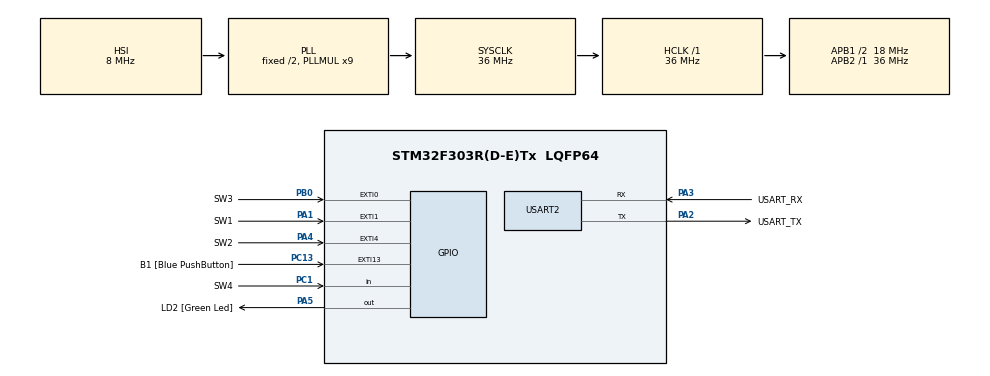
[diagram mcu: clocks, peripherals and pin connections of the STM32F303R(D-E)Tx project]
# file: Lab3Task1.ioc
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Mcu.Family=STM32F3
Mcu.Name=STM32F303R(D-E)Tx
Mcu.Package=LQFP64
NVIC.EXTI0_IRQn=true\:0\:0\:false\:false\:true\:true\:true\:true
NVIC.EXTI15_10_IRQn=true\:0\:0\:false\:false\:true\:true\:true\:true
NVIC.EXTI1_IRQn=true\:0\:0\:false\:false\:true\:true\:true\:true
NVIC.EXTI4_IRQn=true\:0\:0\:false\:false\:true\:true\:true\:true
NVIC.PriorityGroup=NVIC_PRIORITYGROUP_0
PA1.GPIO_Label=SW1
PA1.Signal=GPXTI1
PA13.GPIO_Label=TMS
PA13.Mode=Serial_Wire
PA13.Signal=SYS_JTMS-SWDIO
PA14.GPIO_Label=TCK
PA14.Mode=Serial_Wire
PA14.Signal=SYS_JTCK-SWCLK
PA2.GPIO_Label=USART_TX
PA2.GPIO_Mode=GPIO_MODE_AF_PP
PA2.GPIO_PuPd=GPIO_NOPULL
PA2.GPIO_Speed=GPIO_SPEED_FREQ_LOW
PA2.Mode=Asynchronous
PA2.Signal=USART2_TX
PA3.GPIO_Label=USART_RX
PA3.GPIO_Mode=GPIO_MODE_AF_PP
PA3.GPIO_PuPd=GPIO_NOPULL
PA3.GPIO_Speed=GPIO_SPEED_FREQ_LOW
PA3.Mode=Asynchronous
PA3.Signal=USART2_RX
PA4.GPIO_Label=SW2
PA4.Signal=GPXTI4
PA5.GPIO_Label=LD2 [Green Led]
PA5.GPIO_Mode=GPIO_MODE_OUTPUT_PP
PA5.GPIO_PuPd=GPIO_NOPULL
PA5.GPIO_Speed=GPIO_SPEED_FREQ_LOW
PA5.Signal=GPIO_Output
PB0.GPIO_Label=SW3
PB0.Signal=GPXTI0
PB3.GPIO_Label=SWO
PB3.Signal=SYS_JTDO-TRACESWO
PC1.GPIO_Label=SW4
PC1.Signal=GPIO_Input
PC13.GPIO_Label=B1 [Blue PushButton]
PC13.GPIO_ModeDefaultEXTI=GPIO_MODE_IT_FALLING
PC13.Signal=GPXTI13
PC14-OSC32_IN.Mode=LSE-External-Oscillator
PC14-OSC32_IN.Signal=RCC_OSC32_IN
PC15-OSC32_OUT.Mode=LSE-External-Oscillator
PC15-OSC32_OUT.Signal=RCC_OSC32_OUT
PF0-OSC_IN.Mode=HSE-External-Clock-Source
PF0-OSC_IN.Signal=RCC_OSC_IN
PF1-OSC_OUT.Signal=RCC_OSC_OUT
ProjectManager.HeapSize=0x200
ProjectManager.StackSize=0x400
ProjectManager.TargetToolchain=STM32CubeIDE
RCC.AHBFreq_Value=36000000
RCC.APB1CLKDivider=RCC_HCLK_DIV2
RCC.APB1Freq_Value=18000000
RCC.APB1TimFreq_Value=36000000
RCC.APB2Freq_Value=36000000
RCC.APB2TimFreq_Value=36000000
RCC.CortexFreq_Value=36000000
RCC.HCLKFreq_Value=36000000
RCC.HSE_VALUE=8000000
RCC.HSI_VALUE=8000000
RCC.PLLM=8
RCC.PLLMUL=RCC_PLL_MUL9
RCC.PLLN=336
RCC.PLLP=RCC_PLLP_DIV4
RCC.PLLQ=7
RCC.RCC_PLLsource_Clock_Source_FROM_HSE=RCC_HSE_PREDIV_DIV2
RCC.SYSCLKFreq_VALUE=36000000
RCC.SYSCLKSourceVirtual=RCC_SYSCLKSOURCE_PLLCLK
RCC.USBFreq_Value=36000000
USART2.VirtualMode-Asynchronous=VM_ASYNC
board=NUCLEO-F303RE

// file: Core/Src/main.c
/* USER CODE BEGIN Header */
/**
  ******************************************************************************
  * @file           : main.c
  * @brief          : Main program body
  ******************************************************************************
  * @attention
  *
  * Copyright (c) 2025 STMicroelectronics.
  * All rights reserved.
  *
  * This software is licensed under terms that can be found in the LICENSE file
  * in the root directory of this software component.
  * If no LICENSE file comes with this software, it is provided AS-IS.
  *
  ******************************************************************************
  */
/* USER CODE END Header */
#include "main.h"

/* USER CODE BEGIN Includes */
#include "coast.h"
#include "lcd.h"
/* USER CODE END Includes */

/* USER CODE BEGIN PM */
  int16_t counter = 1;

void HAL_GPIO_EXTI_Callback(uint16_t GPIO_Pin) {
	if (GPIO_Pin == SW1_Pin) {
		if (counter <= INT16_MAX / 2) {
			counter += counter;
		}
	} else if (GPIO_Pin == SW2_Pin && counter > INT16_MIN) {
		counter -= 5;
	} else if (GPIO_Pin == SW3_Pin) {
		counter = 1;
	}
}
/* USER CODE END PM */

UART_HandleTypeDef huart2;

void SystemClock_Config(void);
static void MX_GPIO_Init(void);
static void MX_USART2_UART_Init(void);

int main(void)
{

  /* MCU Configuration--------------------------------------------------------*/

  /* Reset of all peripherals, Initializes the Flash interface and the Systick. */
  HAL_Init();

  /* Configure the system clock */
  SystemClock_Config();

  /* Initialize all configured peripherals */
  MX_GPIO_Init();
  MX_USART2_UART_Init();
  /* USER CODE BEGIN 2 */
  coast_gpio_init();

  /* USER CODE END 2 */

  /* Infinite loop */
  while (1)
  {

    /* USER CODE BEGIN 3 */
	  coast_loop_body(counter);
	  if (HAL_GPIO_ReadPin(SW4_GPIO_Port, SW4_Pin) == GPIO_PIN_SET) {
	  		counter = INT16_MAX;
	  		coast_loop_body(counter);
	  		HAL_Delay(250);
	  		//while (HAL_GPIO_ReadPin(SW4_GPIO_Port, SW4_Pin) == GPIO_PIN_SET);
	  	}
  }
  /* USER CODE END 3 */
}

void SystemClock_Config(void)
{
  RCC_OscInitTypeDef RCC_OscInitStruct = {0};
  RCC_ClkInitTypeDef RCC_ClkInitStruct = {0};
  RCC_PeriphCLKInitTypeDef PeriphClkInit = {0};

  /** Initializes the RCC Oscillators according to the specified parameters
  * in the RCC_OscInitTypeDef structure.
  */
  RCC_OscInitStruct.OscillatorType = RCC_OSCILLATORTYPE_HSI;
  RCC_OscInitStruct.HSIState = RCC_HSI_ON;
  RCC_OscInitStruct.HSICalibrationValue = RCC_HSICALIBRATION_DEFAULT;
  RCC_OscInitStruct.PLL.PLLState = RCC_PLL_ON;
  RCC_OscInitStruct.PLL.PLLSource = RCC_PLLSOURCE_HSI;
  RCC_OscInitStruct.PLL.PLLMUL = RCC_PLL_MUL9;
  RCC_OscInitStruct.PLL.PREDIV = RCC_PREDIV_DIV1;
  if (HAL_RCC_OscConfig(&RCC_OscInitStruct) != HAL_OK)
  {
    Error_Handler();
  }

  /** Initializes the CPU, AHB and APB buses clocks
  */
  RCC_ClkInitStruct.ClockType = RCC_CLOCKTYPE_HCLK|RCC_CLOCKTYPE_SYSCLK
                              |RCC_CLOCKTYPE_PCLK1|RCC_CLOCKTYPE_PCLK2;
  RCC_ClkInitStruct.SYSCLKSource = RCC_SYSCLKSOURCE_PLLCLK;
  RCC_ClkInitStruct.AHBCLKDivider = RCC_SYSCLK_DIV1;
  RCC_ClkInitStruct.APB1CLKDivider = RCC_HCLK_DIV2;
  RCC_ClkInitStruct.APB2CLKDivider = RCC_HCLK_DIV1;

  if (HAL_RCC_ClockConfig(&RCC_ClkInitStruct, FLASH_LATENCY_1) != HAL_OK)
  {
    Error_Handler();
  }
  PeriphClkInit.PeriphClockSelection = RCC_PERIPHCLK_USART2;
  PeriphClkInit.Usart2ClockSelection = RCC_USART2CLKSOURCE_PCLK1;
  if (HAL_RCCEx_PeriphCLKConfig(&PeriphClkInit) != HAL_OK)
  {
    Error_Handler();
  }
}

static void MX_USART2_UART_Init(void)
{

  huart2.Instance = USART2;
  huart2.Init.BaudRate = 38400;
  huart2.Init.WordLength = UART_WORDLENGTH_8B;
  huart2.Init.StopBits = UART_STOPBITS_1;
  huart2.Init.Parity = UART_PARITY_NONE;
  huart2.Init.Mode = UART_MODE_TX_RX;
  huart2.Init.HwFlowCtl = UART_HWCONTROL_NONE;
  huart2.Init.OverSampling = UART_OVERSAMPLING_16;
  huart2.Init.OneBitSampling = UART_ONE_BIT_SAMPLE_DISABLE;
  huart2.AdvancedInit.AdvFeatureInit = UART_ADVFEATURE_NO_INIT;
  if (HAL_UART_Init(&huart2) != HAL_OK)
  {
    Error_Handler();
  }

}

static void MX_GPIO_Init(void)
{
  GPIO_InitTypeDef GPIO_InitStruct = {0};

  /* GPIO Ports Clock Enable */
  __HAL_RCC_GPIOC_CLK_ENABLE();
  __HAL_RCC_GPIOF_CLK_ENABLE();
  __HAL_RCC_GPIOA_CLK_ENABLE();
  __HAL_RCC_GPIOB_CLK_ENABLE();

  /*Configure GPIO pin Output Level */
  HAL_GPIO_WritePin(LD2_GPIO_Port, LD2_Pin, GPIO_PIN_RESET);

  /*Configure GPIO pin : B1_Pin */
  GPIO_InitStruct.Pin = B1_Pin;
  GPIO_InitStruct.Mode = GPIO_MODE_IT_FALLING;
  GPIO_InitStruct.Pull = GPIO_NOPULL;
  HAL_GPIO_Init(B1_GPIO_Port, &GPIO_InitStruct);

  /*Configure GPIO pin : SW4_Pin */
  GPIO_InitStruct.Pin = SW4_Pin;
  GPIO_InitStruct.Mode = GPIO_MODE_INPUT;
  GPIO_InitStruct.Pull = GPIO_NOPULL;
  HAL_GPIO_Init(SW4_GPIO_Port, &GPIO_InitStruct);

  /*Configure GPIO pins : SW1_Pin SW2_Pin */
  GPIO_InitStruct.Pin = SW1_Pin|SW2_Pin;
  GPIO_InitStruct.Mode = GPIO_MODE_IT_RISING;
  GPIO_InitStruct.Pull = GPIO_NOPULL;
  HAL_GPIO_Init(GPIOA, &GPIO_InitStruct);

  /*Configure GPIO pin : LD2_Pin */
  GPIO_InitStruct.Pin = LD2_Pin;
  GPIO_InitStruct.Mode = GPIO_MODE_OUTPUT_PP;
  GPIO_InitStruct.Pull = GPIO_NOPULL;
  GPIO_InitStruct.Speed = GPIO_SPEED_FREQ_LOW;
  HAL_GPIO_Init(LD2_GPIO_Port, &GPIO_InitStruct);

  /*Configure GPIO pin : SW3_Pin */
  GPIO_InitStruct.Pin = SW3_Pin;
  GPIO_InitStruct.Mode = GPIO_MODE_IT_RISING;
  GPIO_InitStruct.Pull = GPIO_NOPULL;
  HAL_GPIO_Init(SW3_GPIO_Port, &GPIO_InitStruct);

  /* EXTI interrupt init*/
  HAL_NVIC_SetPriority(EXTI0_IRQn, 0, 0);
  HAL_NVIC_EnableIRQ(EXTI0_IRQn);

  HAL_NVIC_SetPriority(EXTI1_IRQn, 0, 0);
  HAL_NVIC_EnableIRQ(EXTI1_IRQn);

  HAL_NVIC_SetPriority(EXTI4_IRQn, 0, 0);
  HAL_NVIC_EnableIRQ(EXTI4_IRQn);

  HAL_NVIC_SetPriority(EXTI15_10_IRQn, 0, 0);
  HAL_NVIC_EnableIRQ(EXTI15_10_IRQn);

}

void Error_Handler(void)
{
  __disable_irq();
  while (1)
  {
  }
}
